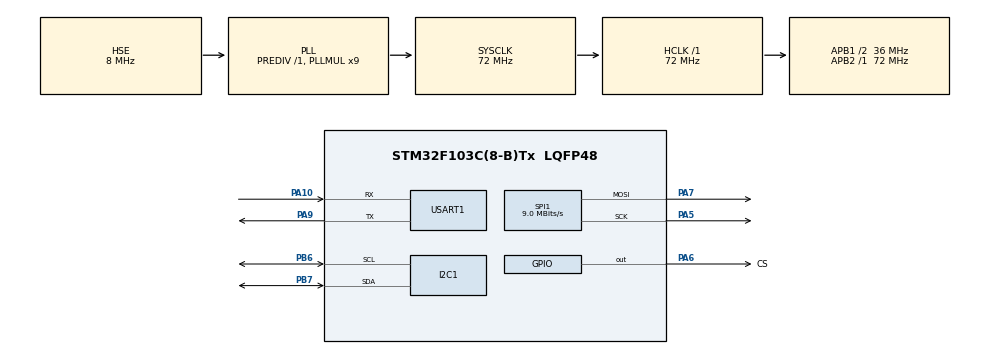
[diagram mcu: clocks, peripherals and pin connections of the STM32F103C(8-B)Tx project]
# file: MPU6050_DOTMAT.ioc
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Mcu.Family=STM32F1
Mcu.Name=STM32F103C(8-B)Tx
Mcu.Package=LQFP48
NVIC.PriorityGroup=NVIC_PRIORITYGROUP_4
PA10.Mode=Asynchronous
PA10.Signal=USART1_RX
PA13.Mode=Serial_Wire
PA13.Signal=SYS_JTMS-SWDIO
PA14.Mode=Serial_Wire
PA14.Signal=SYS_JTCK-SWCLK
PA5.Mode=TX_Only_Simplex_Unidirect_Master
PA5.Signal=SPI1_SCK
PA6.GPIO_Label=CS
PA6.Signal=GPIO_Output
PA7.Mode=TX_Only_Simplex_Unidirect_Master
PA7.Signal=SPI1_MOSI
PA9.Mode=Asynchronous
PA9.Signal=USART1_TX
PB6.Mode=I2C
PB6.Signal=I2C1_SCL
PB7.Mode=I2C
PB7.Signal=I2C1_SDA
PD0-OSC_IN.Mode=HSE-External-Oscillator
PD0-OSC_IN.Signal=RCC_OSC_IN
PD1-OSC_OUT.Mode=HSE-External-Oscillator
PD1-OSC_OUT.Signal=RCC_OSC_OUT
ProjectManager.HeapSize=0x200
ProjectManager.StackSize=0x400
ProjectManager.TargetToolchain=STM32CubeIDE
RCC.AHBFreq_Value=72000000
RCC.APB1CLKDivider=RCC_HCLK_DIV2
RCC.APB1Freq_Value=36000000
RCC.APB1TimFreq_Value=72000000
RCC.APB2Freq_Value=72000000
RCC.APB2TimFreq_Value=72000000
RCC.HCLKFreq_Value=72000000
RCC.PLLMUL=RCC_PLL_MUL9
RCC.PLLSourceVirtual=RCC_PLLSOURCE_HSE
RCC.SYSCLKFreq_VALUE=72000000
RCC.SYSCLKSource=RCC_SYSCLKSOURCE_PLLCLK
RCC.USBFreq_Value=72000000
SPI1.BaudRatePrescaler=SPI_BAUDRATEPRESCALER_8
SPI1.CalculateBaudRate=9.0 MBits/s
SPI1.Direction=SPI_DIRECTION_2LINES
SPI1.Mode=SPI_MODE_MASTER
SPI1.VirtualType=VM_MASTER
USART1.VirtualMode=VM_ASYNC
board=custom

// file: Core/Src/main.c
/* USER CODE BEGIN Header */
/**
  ******************************************************************************
  * @file           : main.c
  * @brief          : Main program body
  ******************************************************************************
  * @attention
  *
  * Copyright (c) 2023 STMicroelectronics.
  * All rights reserved.
  *
  * This software is licensed under terms that can be found in the LICENSE file
  * in the root directory of this software component.
  * If no LICENSE file comes with this software, it is provided AS-IS.
  *
  ******************************************************************************
  */
/* USER CODE END Header */
#include "main.h"

/* USER CODE BEGIN Includes */

#include "MPU6050.h"
#include "Mydot.h"
#include "stdio.h"

/* USER CODE END Includes */

I2C_HandleTypeDef hi2c1;

SPI_HandleTypeDef hspi1;

UART_HandleTypeDef huart1;

/* USER CODE BEGIN PV */

SensorData_t pSensor;
float Ax, Ay, Az, Gx, Gy, Gz;

uint8_t TxBuffer[100], sizee;

uint8_t sag[8] = {0x00, 0x08, 0x04, 0x7E, 0x04, 0x08, 0x00, 0x00};
uint8_t sol[8] = {0x00, 0x10, 0x20, 0x7E, 0x20, 0x10, 0x00, 0x00};
uint8_t orta[8] = {0x00, 0x08, 0x14, 0x22, 0x14, 0x08, 0x00, 0x00};
uint8_t up[8] = {0x00, 0x08, 0x1C, 0x2A, 0x08, 0x08, 0x08, 0x08};
uint8_t down[8] = {0x08, 0x08, 0x08, 0x08, 0x2A, 0x1C, 0x08, 0x00};

/* USER CODE END PV */

void SystemClock_Config(void);
static void MX_GPIO_Init(void);
static void MX_I2C1_Init(void);
static void MX_USART1_UART_Init(void);
static void MX_SPI1_Init(void);

int main(void)
{

  /* MCU Configuration--------------------------------------------------------*/

  /* Reset of all peripherals, Initializes the Flash interface and the Systick. */
  HAL_Init();

  /* Configure the system clock */
  SystemClock_Config();

  /* Initialize all configured peripherals */
  MX_GPIO_Init();
  MX_I2C1_Init();
  MX_USART1_UART_Init();
  MX_SPI1_Init();
  /* USER CODE BEGIN 2 */
  MAX7219_Init();
  MPU6050_Init(&pSensor, FS_500, AFS_4G);

  /* USER CODE END 2 */

  /* Infinite loop */
  /* USER CODE BEGIN WHILE */
  while (1)
  {

	  MPU6050_READ_DATA(&pSensor);
	  Ax = pSensor.accel.x;
	  Ay = pSensor.accel.y;
	  Az = pSensor.accel.z;

	  Gx = pSensor.gyros.x;
	  Gy = pSensor.gyros.y;
	  Gz = pSensor.gyros.z;

	  sizee = sprintf((char *)TxBuffer, "Ax: %.1f\tAy: %.1f\n", Ax, Ay);
	  HAL_UART_Transmit(&huart1, TxBuffer, sizee, 10);

	  if((int)Ay > 400){
		  for(int i=1; i<9; ++i){
			  MAX_SendData(i, sol[i-1]);

		  }
	  }

	  else if((int)Ay < -400){
		  for(int i=1; i<9; ++i){
			  MAX_SendData(i, sag[i-1]);
		  }
	  }

	  else if((int)Ax > 400)
	  {
		  for(int i=1; i<9; ++i){
			  MAX_SendData(i, up[i-1]);
		  }
	  }

	  else if((int)Ax < -400){
		  for(int i=1; i<9; ++i){
			  MAX_SendData(i, down[i-1]);
		  }
	  }
	  else{
		  for(int i=1; i<9; ++i){
			  MAX_SendData(i, orta[i-1]);
		  }
	  }

	  HAL_Delay(300);

    /* USER CODE END WHILE */

  }
}

void SystemClock_Config(void)
{
  RCC_OscInitTypeDef RCC_OscInitStruct = {0};
  RCC_ClkInitTypeDef RCC_ClkInitStruct = {0};

  /** Initializes the RCC Oscillators according to the specified parameters
  * in the RCC_OscInitTypeDef structure.
  */
  RCC_OscInitStruct.OscillatorType = RCC_OSCILLATORTYPE_HSE;
  RCC_OscInitStruct.HSEState = RCC_HSE_ON;
  RCC_OscInitStruct.HSEPredivValue = RCC_HSE_PREDIV_DIV1;
  RCC_OscInitStruct.HSIState = RCC_HSI_ON;
  RCC_OscInitStruct.PLL.PLLState = RCC_PLL_ON;
  RCC_OscInitStruct.PLL.PLLSource = RCC_PLLSOURCE_HSE;
  RCC_OscInitStruct.PLL.PLLMUL = RCC_PLL_MUL9;
  if (HAL_RCC_OscConfig(&RCC_OscInitStruct) != HAL_OK)
  {
    Error_Handler();
  }

  /** Initializes the CPU, AHB and APB buses clocks
  */
  RCC_ClkInitStruct.ClockType = RCC_CLOCKTYPE_HCLK|RCC_CLOCKTYPE_SYSCLK
                              |RCC_CLOCKTYPE_PCLK1|RCC_CLOCKTYPE_PCLK2;
  RCC_ClkInitStruct.SYSCLKSource = RCC_SYSCLKSOURCE_PLLCLK;
  RCC_ClkInitStruct.AHBCLKDivider = RCC_SYSCLK_DIV1;
  RCC_ClkInitStruct.APB1CLKDivider = RCC_HCLK_DIV2;
  RCC_ClkInitStruct.APB2CLKDivider = RCC_HCLK_DIV1;

  if (HAL_RCC_ClockConfig(&RCC_ClkInitStruct, FLASH_LATENCY_2) != HAL_OK)
  {
    Error_Handler();
  }
}

static void MX_I2C1_Init(void)
{

  hi2c1.Instance = I2C1;
  hi2c1.Init.ClockSpeed = 100000;
  hi2c1.Init.DutyCycle = I2C_DUTYCYCLE_2;
  hi2c1.Init.OwnAddress1 = 0;
  hi2c1.Init.AddressingMode = I2C_ADDRESSINGMODE_7BIT;
  hi2c1.Init.DualAddressMode = I2C_DUALADDRESS_DISABLE;
  hi2c1.Init.OwnAddress2 = 0;
  hi2c1.Init.GeneralCallMode = I2C_GENERALCALL_DISABLE;
  hi2c1.Init.NoStretchMode = I2C_NOSTRETCH_DISABLE;
  if (HAL_I2C_Init(&hi2c1) != HAL_OK)
  {
    Error_Handler();
  }

}

static void MX_SPI1_Init(void)
{

  /* SPI1 parameter configuration*/
  hspi1.Instance = SPI1;
  hspi1.Init.Mode = SPI_MODE_MASTER;
  hspi1.Init.Direction = SPI_DIRECTION_2LINES;
  hspi1.Init.DataSize = SPI_DATASIZE_8BIT;
  hspi1.Init.CLKPolarity = SPI_POLARITY_LOW;
  hspi1.Init.CLKPhase = SPI_PHASE_1EDGE;
  hspi1.Init.NSS = SPI_NSS_SOFT;
  hspi1.Init.BaudRatePrescaler = SPI_BAUDRATEPRESCALER_8;
  hspi1.Init.FirstBit = SPI_FIRSTBIT_MSB;
  hspi1.Init.TIMode = SPI_TIMODE_DISABLE;
  hspi1.Init.CRCCalculation = SPI_CRCCALCULATION_DISABLE;
  hspi1.Init.CRCPolynomial = 10;
  if (HAL_SPI_Init(&hspi1) != HAL_OK)
  {
    Error_Handler();
  }

}

static void MX_USART1_UART_Init(void)
{

  huart1.Instance = USART1;
  huart1.Init.BaudRate = 115200;
  huart1.Init.WordLength = UART_WORDLENGTH_8B;
  huart1.Init.StopBits = UART_STOPBITS_1;
  huart1.Init.Parity = UART_PARITY_NONE;
  huart1.Init.Mode = UART_MODE_TX_RX;
  huart1.Init.HwFlowCtl = UART_HWCONTROL_NONE;
  huart1.Init.OverSampling = UART_OVERSAMPLING_16;
  if (HAL_UART_Init(&huart1) != HAL_OK)
  {
    Error_Handler();
  }

}

static void MX_GPIO_Init(void)
{
  GPIO_InitTypeDef GPIO_InitStruct = {0};

  /* GPIO Ports Clock Enable */
  __HAL_RCC_GPIOD_CLK_ENABLE();
  __HAL_RCC_GPIOA_CLK_ENABLE();
  __HAL_RCC_GPIOB_CLK_ENABLE();

  /*Configure GPIO pin Output Level */
  HAL_GPIO_WritePin(CS_GPIO_Port, CS_Pin, GPIO_PIN_RESET);

  /*Configure GPIO pin : CS_Pin */
  GPIO_InitStruct.Pin = CS_Pin;
  GPIO_InitStruct.Mode = GPIO_MODE_OUTPUT_PP;
  GPIO_InitStruct.Pull = GPIO_NOPULL;
  GPIO_InitStruct.Speed = GPIO_SPEED_FREQ_LOW;
  HAL_GPIO_Init(CS_GPIO_Port, &GPIO_InitStruct);

}

void Error_Handler(void)
{
  __disable_irq();
  while (1)
  {
  }
}
